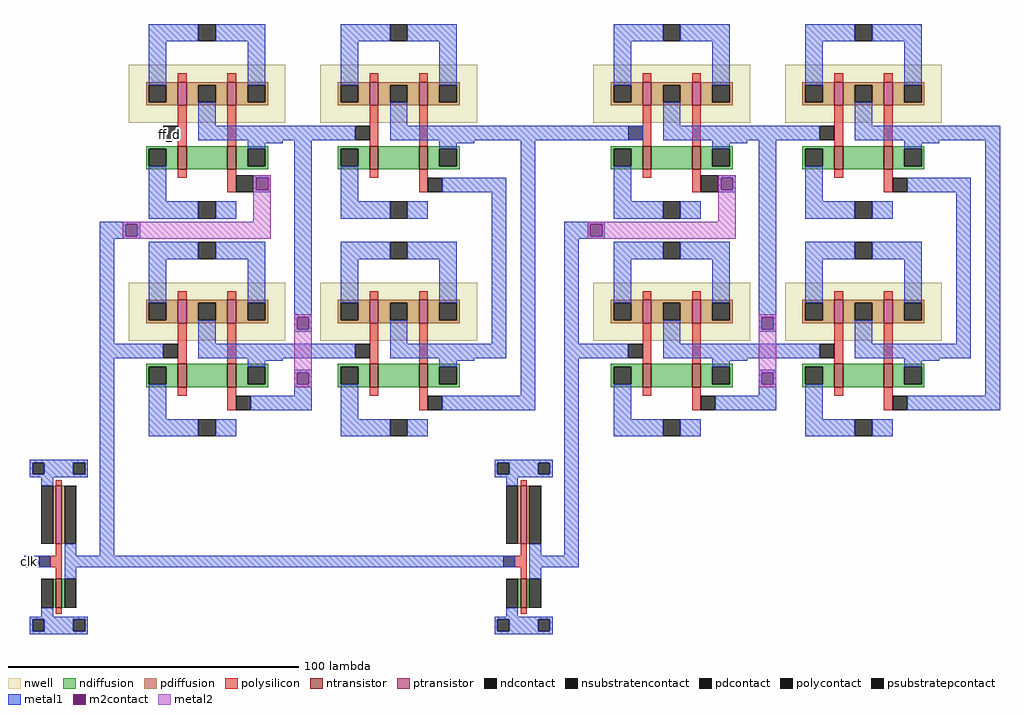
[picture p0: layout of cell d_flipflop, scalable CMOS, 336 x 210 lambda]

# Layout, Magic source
magic
tech scmos
<< metal1 >>
rect 150 102 187 107
rect 0 -41 5 28
rect 160 -41 165 27
rect -26 -45 -17 -41
rect -8 -45 143 -41
rect 152 -45 165 -41
use d_latch  d_latch_0
transform 1 0 0 0 1 80
box 0 -80 150 62
use d_latch  d_latch_1
transform 1 0 160 0 1 80
box 0 -80 150 62
use inverter_schematic  inverter_schematic_0 ~/Documents/vlsi_layouts/cmos_inverter
transform 1 0 -20 0 1 -37
box -4 -31 16 29
use inverter_schematic  inverter_schematic_1
transform 1 0 140 0 1 -37
box -4 -31 16 29
<< labels >>
rlabel metal1 -24 -43 -24 -43 3 clk
rlabel space 24 104 24 104 1 ff_d
<< end >>

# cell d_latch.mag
magic
tech scmos
<< polysilicon >>
rect 44 4 47 9
rect 110 4 113 9
rect 44 -71 47 -66
rect 110 -71 113 -66
<< polycontact >>
rect 22 22 27 27
rect 88 22 93 27
rect 47 4 53 10
rect 113 4 118 9
rect 22 -53 27 -48
rect 88 -53 93 -48
rect 47 -71 52 -66
rect 113 -71 118 -66
<< metal1 >>
rect 63 22 88 27
rect 129 22 150 27
rect 53 9 59 10
rect 53 5 54 9
rect 58 5 59 9
rect 53 4 59 5
rect 0 -7 14 -6
rect 0 -11 9 -7
rect 13 -11 14 -7
rect 0 -12 14 -11
rect 0 -48 5 -12
rect 67 -39 73 22
rect 118 4 140 9
rect 67 -43 68 -39
rect 72 -43 73 -39
rect 67 -44 73 -43
rect 135 -48 140 4
rect 0 -53 22 -48
rect 63 -53 88 -48
rect 129 -53 140 -48
rect 67 -58 73 -57
rect 67 -62 68 -58
rect 72 -62 73 -58
rect 67 -66 73 -62
rect 145 -66 150 22
rect 52 -71 73 -66
rect 118 -71 150 -66
<< m2contact >>
rect 54 5 58 9
rect 9 -11 13 -7
rect 68 -43 72 -39
rect 68 -62 72 -58
<< metal2 >>
rect 53 9 59 10
rect 53 5 54 9
rect 58 5 59 9
rect 53 -6 59 5
rect 8 -7 59 -6
rect 8 -11 9 -7
rect 13 -11 59 -7
rect 8 -12 59 -11
rect 67 -39 73 -38
rect 67 -43 68 -39
rect 72 -43 73 -39
rect 67 -58 73 -43
rect 67 -62 68 -58
rect 72 -62 73 -58
rect 67 -63 73 -62
use nand_gate  nand_gate_0 ~/Documents/vlsi_layouts/logic_gates/nand_gate
transform 1 0 16 0 1 34
box -6 -39 48 28
use nand_gate  nand_gate_1
transform 1 0 16 0 1 -41
box -6 -39 48 28
use nand_gate  nand_gate_2
transform 1 0 82 0 1 34
box -6 -39 48 28
use nand_gate  nand_gate_3
transform 1 0 82 0 1 -41
box -6 -39 48 28
<< labels >>
rlabel polycontact 51 8 51 8 1 en
rlabel polycontact 24 24 24 24 1 d
rlabel metal1 148 25 148 25 7 Q
rlabel metal1 138 -51 138 -51 1 Q_not
<< end >>

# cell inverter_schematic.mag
magic
tech scmos
<< ntransistor >>
rect 5 -22 7 -12
<< ptransistor >>
rect 5 0 7 20
<< ndiffusion >>
rect 4 -22 5 -12
rect 7 -22 8 -12
<< pdiffusion >>
rect 4 0 5 20
rect 7 0 8 20
<< ndcontact >>
rect 0 -22 4 -12
rect 8 -22 12 -12
<< pdcontact >>
rect 0 0 4 20
rect 8 0 12 20
<< psubstratepcontact >>
rect -3 -30 1 -26
rect 11 -30 15 -26
<< nsubstratencontact >>
rect -3 24 1 28
rect 11 24 15 28
<< polysilicon >>
rect 5 20 7 22
rect 5 -4 7 0
rect 3 -8 7 -4
rect 5 -12 7 -8
rect 5 -24 7 -22
<< polycontact >>
rect -1 -8 3 -4
<< metal1 >>
rect -4 28 16 29
rect -4 24 -3 28
rect 1 24 11 28
rect 15 24 16 28
rect -4 23 16 24
rect 0 20 4 23
rect 8 -12 12 0
rect 0 -25 4 -22
rect -4 -26 16 -25
rect -4 -30 -3 -26
rect 1 -30 11 -26
rect 15 -30 16 -26
rect -4 -31 16 -30
<< labels >>
rlabel metal1 3 25 3 25 5 vdd
rlabel metal1 3 -29 3 -29 1 gnd
rlabel metal1 10 -5 10 -5 1 Z
rlabel polycontact 1 -6 1 -6 3 A
<< end >>

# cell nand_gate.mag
magic
tech scmos
<< nwell >>
rect -6 -6 48 14
<< ntransistor >>
rect 11 -22 14 -14
rect 28 -22 31 -14
<< ptransistor >>
rect 11 0 14 8
rect 28 0 31 8
<< ndiffusion >>
rect 0 -15 11 -14
rect 0 -21 1 -15
rect 7 -21 11 -15
rect 0 -22 11 -21
rect 14 -22 28 -14
rect 31 -15 42 -14
rect 31 -21 35 -15
rect 41 -21 42 -15
rect 31 -22 42 -21
<< pdiffusion >>
rect 0 7 11 8
rect 0 1 1 7
rect 7 1 11 7
rect 0 0 11 1
rect 14 7 28 8
rect 14 1 18 7
rect 24 1 28 7
rect 14 0 28 1
rect 31 7 42 8
rect 31 1 35 7
rect 41 1 42 7
rect 31 0 42 1
<< ndcontact >>
rect 1 -21 7 -15
rect 35 -21 41 -15
<< pdcontact >>
rect 1 1 7 7
rect 18 1 24 7
rect 35 1 41 7
<< psubstratepcontact >>
rect 18 -39 24 -33
<< nsubstratencontact >>
rect 18 22 24 28
<< polysilicon >>
rect 11 8 14 11
rect 28 8 31 11
rect 11 -14 14 0
rect 28 -14 31 0
rect 11 -25 14 -22
rect 28 -25 31 -22
<< metal1 >>
rect 1 22 18 28
rect 24 22 41 28
rect 1 7 7 22
rect 35 7 41 22
rect 18 -7 24 1
rect 18 -12 47 -7
rect 35 -13 47 -12
rect 35 -15 41 -13
rect 1 -33 7 -21
rect 1 -39 18 -33
rect 24 -39 31 -33
<< labels >>
rlabel metal1 15 -36 15 -36 1 gnd
rlabel metal1 15 25 15 25 5 vdd
rlabel polysilicon 12 -13 12 -13 1 A
rlabel polysilicon 29 -13 29 -13 1 B
rlabel metal1 44 -10 44 -10 7 Z
<< end >>
